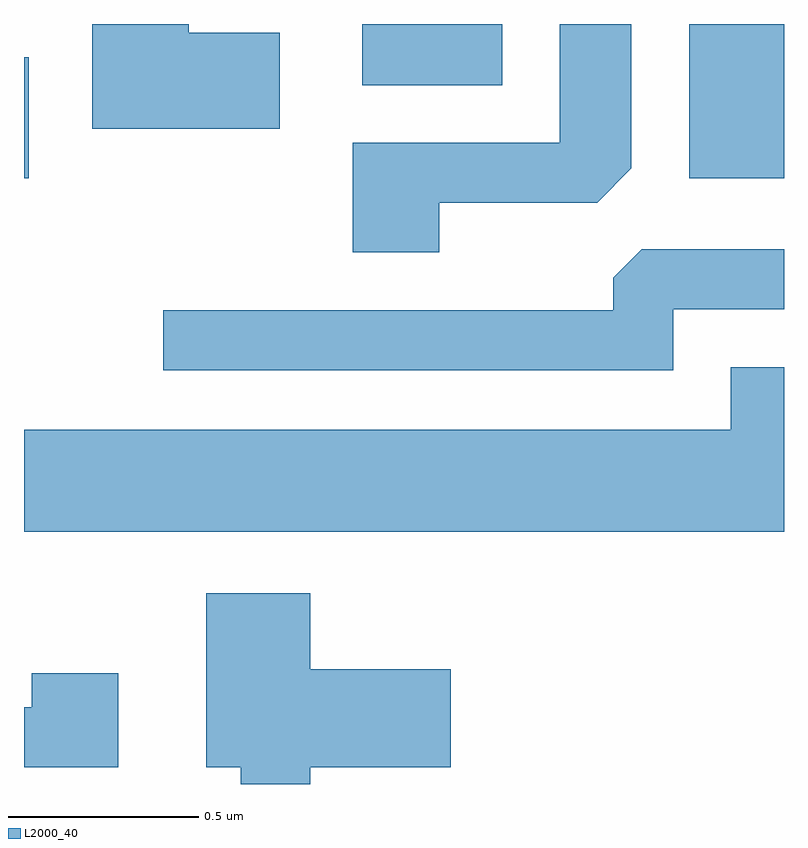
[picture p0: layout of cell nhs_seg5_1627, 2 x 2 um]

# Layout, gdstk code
import gdstk
lib = gdstk.Library(unit=1e-6, precision=1e-09)
def R(c, l, rs):  # rectangles x0, y0, x1, y1
    for r in rs: c.add(gdstk.rectangle(r[:2], r[2:], *l))
def P(c, l, *ps):  # polygons
    for p in ps: c.add(gdstk.Polygon(p, *l))
L2000_40 = (2000, 40)

nhs_seg5_1627 = lib.new_cell('nhs_seg5_1627')
R(nhs_seg5_1627, L2000_40, [(196.611,1517.666,196.624,1517.984), (198.361,1517.666,198.611,1518.072), (197.501,1517.911,197.869,1518.072)])
P(nhs_seg5_1627, L2000_40, [(197.704,1517.601),(198.119,1517.601),(198.209,1517.692),(198.209,1518.072),(198.021,1518.072),(198.021,1517.759),(197.476,1517.759),(197.476,1517.471),(197.704,1517.471)],
  [(197.284,1518.049),(197.044,1518.049),(197.044,1518.072),(196.791,1518.072),(196.791,1517.796),(197.284,1517.796)],
  [(198.319,1517.321),(198.611,1517.321),(198.611,1517.479),(198.237,1517.479),(198.161,1517.404),(198.161,1517.319),(196.978,1517.319),(196.978,1517.161),(198.319,1517.161)],
  [(198.611,1517.169),(198.471,1517.169),(198.471,1517.004),(196.611,1517.004),(196.611,1516.736),(198.611,1516.736)],
  [(197.364,1516.116),(197.734,1516.116),(197.734,1516.374),(197.364,1516.374),(197.364,1516.574),(197.091,1516.574),(197.091,1516.116),(197.181,1516.116),(197.181,1516.072),(197.364,1516.072)],
  [(196.859,1516.364),(196.631,1516.364),(196.631,1516.274),(196.611,1516.274),(196.611,1516.116),(196.859,1516.116)])

lib.write_gds('nhs_seg5_1627.gds')
